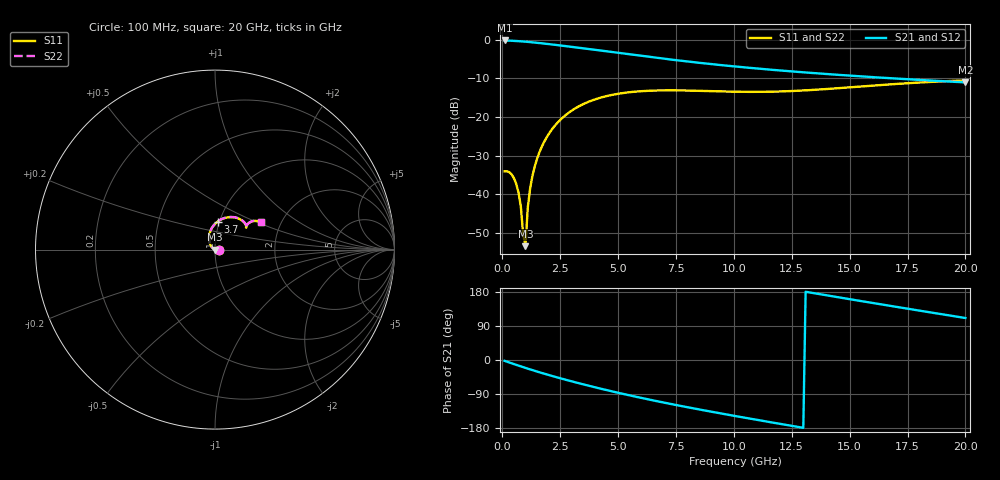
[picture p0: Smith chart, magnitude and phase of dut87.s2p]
! Touchstone file exported from HFSS 2023.1.0
!  File:  D:/Users/fzz/RDL_TSV/temp_RDL_TSV_87_1778747975.aedt
!  Generated:  4:49:24 %x4E0B%x5348  5%x6708 14, 2026
!  Design:  RDL_TSV
!  Project:  temp_RDL_TSV_87_1778747975
!  Setup:  Setup1
!  Solution:  Sweep
! Variables:
!  dtsv = 11.05um
!  hbump = 3um
!  htsv = 74.47um
!  ldown = 465.42um
!  lrdl = 576.11um
!  p = 40
!  p1 = 50.29um
!  rhole = 10um
!  subl = 3700.7um
!  t = 450um
!  tdown = 2.16um
!  trdl = 2.98um
!  viad = 10um
!  wdown = 22.78um
!  wrdl = 29.1um
!  xbump = 18um
# GHz S MA R 50.000000
! Terminal data exported
! Port[1] = TM1_1_T1
! Port[2] = TM1_4_T1
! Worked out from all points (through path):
!   200 points, 100 MHz to 20 GHz, reference 50 ohm
!   highest |S21| = -0.18 dB at 100 MHz (marker M1); lowest = -11.0 dB at 20 GHz (marker M2)
!   group delay of S21, straight-line fit = 32.8 ps
!   lowest |S11| = -53.4 dB at 1 GHz (marker M3), VSWR 1.00, Z = 49.8 - j0.0325 ohm
!   |S11| at or under -10 dB: start of sweep to end of sweep
!   |S22| runs from -53.0 to -10.4 dB; largest |S21 - S12| = 4.2e-14
!   S11 on the Smith chart (normalised r, x): 100 MHz: 1.04, -0.00; 3.7 GHz: 0.98, +0.31; 20 GHz: 1.58, +0.53
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0.1  0.0199 -0.5  0.9794 -2.2  0.9794 -2.2  0.0199 -0.5
! Gamma 0 0 0 0
! Port Impedance 50 0 50 0
0.4  0.01824 -9.5  0.9715 -8.6  0.9715 -8.6  0.01823 -9.4
0.6  0.01375 -18.6  0.9639 -12.8  0.9639 -12.8  0.01371 -18.5
0.7  0.01062 -23.9  0.9595 -14.8  0.9595 -14.8  0.01057 -23.9
0.8  0.007011 -31.3  0.9548 -16.9  0.9548 -16.9  0.006941 -31.3
0.9  0.003067 -49.0  0.9498 -18.9  0.9498 -18.9  0.002983 -49.6
1  0.002148 -171.3  0.9444 -20.8  0.9444 -20.8  0.002232 -173.1
1.1  0.00672 159.7  0.9387 -22.8  0.9387 -22.8  0.006847 159.5
1.2  0.01185 151.6  0.9328 -24.7  0.9328 -24.7  0.01201 151.5
1.4  0.02299 142.2  0.9203 -28.6  0.9203 -28.6  0.02319 142.2
1.6  0.03494 135.0  0.9072 -32.3  0.9072 -32.3  0.03519 135.0
2  0.06016 122.8  0.8797 -39.5  0.8797 -39.5  0.06053 122.8
2.4  0.08564 112.1  0.8516 -46.5  0.8516 -46.5  0.08612 112.2
3.5  0.1476 88.1  0.7751 -64.3  0.7751 -64.3  0.1484 88.2
3.7  0.1568 84.4  0.7615 -67.4  0.7615 -67.4  0.1577 84.5
5.3  0.2066 60.8  0.6595 -90.6  0.6595 -90.6  0.2077 60.9
6.8  0.2213 46.5  0.5779 -110.2  0.5779 -110.2  0.2225 46.6
8.4  0.2192 38.0  0.5078 -129.3  0.5078 -129.3  0.2204 38.1
10.1  0.213 35.1  0.45 -148.3  0.45 -148.3  0.2142 35.2
13.4  0.2246 37.6  0.3718 176.9  0.3718 176.9  0.2259 37.7
16.7  0.2645 36.8  0.3192 143.4  0.3192 143.4  0.2664 36.9
20  0.2982 30.9  0.2814 110.8  0.2814 110.8  0.3007 31.0
